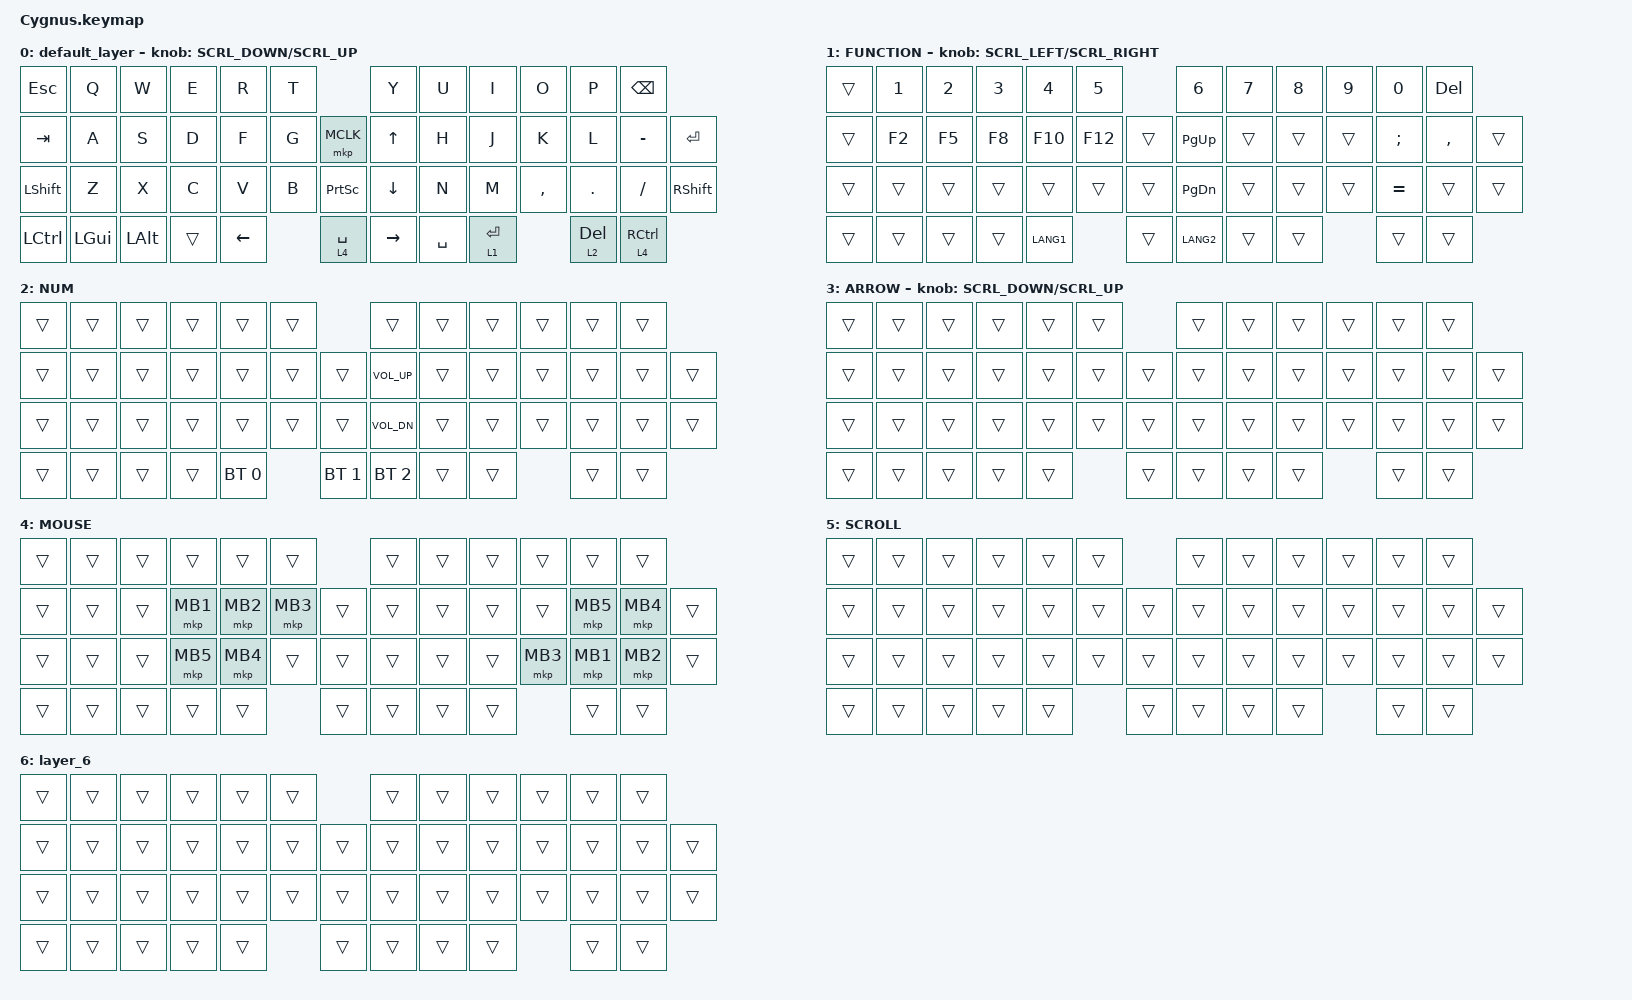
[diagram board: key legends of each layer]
#define ZMK_POINTING_DEFAULT_SCRL_VAL 120    // default: 10

#include <behaviors.dtsi>
#include <dt-bindings/zmk/bt.h>
#include <dt-bindings/zmk/keys.h>
#include <dt-bindings/zmk/pointing.h>

#define MOUSE 4
#define SCROLL 5
#define NUM 6

&mt {
    flavor = "balanced";
    quick-tap-ms = <0>;
};

/ {
    combos {
        compatible = "zmk,combos";
        double_quotation {
            bindings = <&kp DOUBLE_QUOTES>;
            key-positions = <20 21>;
        };
    };

    macros {
        to_layer_0: to_layer_0 {
            compatible = "zmk,behavior-macro-one-param";
            #binding-cells = <1>;
            bindings = <&to 0 &macro_param_1to1 &kp MACRO_PLACEHOLDER>;
            label = "TO_LAYER_0";
        };
        macro1: macro1  {
            compatible = "zmk,behavior-macro";
            #binding-cells = <0>;
            wait-ms = <40>;
            tap-ms = <40>;
            bindings =
                <&macro_tap &kp LANG2>,
                <&macro_tap &kp NUMBER_1 &kp NUMBER_2 &kp NUMBER_2 &kp NUMBER_1
                            &kp NUMBER_1 &kp NUMBER_2 &kp NUMBER_2 &kp NUMBER_1>;
            label = "MACRO1(122)";
        };

        macro2: macro2 {
            compatible = "zmk,behavior-macro";
            #binding-cells = <0>;
            wait-ms = <40>;
            tap-ms = <40>;
            bindings =
                <&macro_tap &kp LANG2>,
                <&macro_tap &kp I &kp E &kp G &kp A &kp L &kp L &kp S &kp T &kp A &kp R &kp S &kp I &kp T>,
                <&macro_tap &kp AT_SIGN>,
                <&macro_tap &kp G &kp M &kp A &kp I &kp L>,
                <&macro_tap &kp DOT>,
                <&macro_tap &kp C &kp O &kp M>;
            label = "MACRO2(ieg)";
        };

        macro3: macro3 {
            compatible = "zmk,behavior-macro";
            #binding-cells = <0>;
            wait-ms = <40>;
            tap-ms = <40>;
            bindings =
                <&macro_tap &kp LANG2>,
                <&macro_tap &kp T &kp A &kp N &kp I &kp M &kp O &kp T &kp O>,
                <&macro_tap &kp NUMBER_7 &kp NUMBER_5 &kp NUMBER_0 &kp NUMBER_3>,
                <&macro_tap &kp AT_SIGN>,
                <&macro_tap &kp I &kp H &kp I>,
                <&macro_tap &kp MINUS>,
                <&macro_tap &kp G>,
                <&macro_tap &kp DOT>,
                <&macro_tap &kp C &kp O &kp M>;
            label = "MACRO3(tan)";
        };

        macro4: macro4 {
            compatible = "zmk,behavior-macro";
            #binding-cells = <0>;
            wait-ms = <40>;
            tap-ms = <40>;
            bindings =
                <&macro_tap &kp LANG2>,
                <&macro_tap &kp P>,
                <&macro_tap &kp LS(V)>,
                <&macro_tap &kp NUMBER_4>,
                <&macro_tap &kp LS(D)>,
                <&macro_tap &kp LS(NUMBER_4)>,
                <&macro_tap &kp B>,
                <&macro_tap &kp LS(R)>,
                <&macro_tap &kp NUMBER_8>,
                <&macro_tap &kp LS(NUMBER_5)>,
                <&macro_tap &kp LS(A)>,
                <&macro_tap &kp I>,
                <&macro_tap &kp LS(C)>;
            label = "MACRO4(pV4)";
        }; 
    };

    behaviors {
        lt_to_layer_0: lt_to_layer_0 {
            compatible = "zmk,behavior-hold-tap";
            label = "LAYER_TAP_TO_0";
            bindings = <&mo>, <&to_layer_0>;
            #binding-cells = <2>;
            tapping-term-ms = <200>;
        };
        ROTATE: ROTATE {
            compatible = "zmk,behavior-sensor-rotate-var";
            label = "ROTATE";
            #sensor-binding-cells = <2>;
            bindings = <&msc>, <&msc>;
            tap-ms = <20>;
        };

    };

    keymap {
        compatible = "zmk,keymap";

        default_layer {
            bindings = <
&kp ESC    &kp Q    &kp W    &kp E    &kp R    &kp T                      &kp Y    &kp U    &kp I    &kp O    &kp P    &kp BSPC
&kp TAB    &kp A    &kp S    &kp D    &kp F    &kp G    &mkp MCLK    &kp UP_ARROW    &kp H    &kp J    &kp K    &kp L    &kp MINUS    &kp ENTER
&kp LSHFT  &kp Z    &kp X    &kp C    &kp V    &kp B    &kp PRINTSCREEN    &kp DOWN_ARROW    &kp N    &kp M    &kp COMMA    &kp DOT    &kp FSLH    &kp RSHFT
&kp LCTRL  &kp LGUI &kp LALT &trans   &kp LEFT_ARROW &lt 4 SPACE &kp RIGHT_ARROW    &kp SPACE &lt 1 ENTER    &lt 2 DELETE &lt 4 RCTRL
            >;
            sensor-bindings = <&ROTATE SCRL_DOWN SCRL_UP>;
        };

        FUNCTION {
            bindings = <
&trans &kp NUMBER_1 &kp NUMBER_2 &kp NUMBER_3 &kp NUMBER_4 &kp NUMBER_5    &kp NUMBER_6 &kp NUMBER_7 &kp NUMBER_8 &kp NUMBER_9 &kp NUMBER_0 &kp DELETE
&trans &kp F2 &kp F5 &kp F8 &kp F10 &kp F12 &trans    &kp PAGE_UP &trans &trans &trans &kp SEMICOLON &kp COMMA &trans
&trans &trans &trans &trans &trans &trans &trans    &kp PAGE_DOWN &trans &trans &trans &kp EQUAL &trans &trans
&trans &trans &trans &trans &kp LANG1 &trans &kp LANG2    &trans &trans &trans &trans
            >;

            sensor-bindings = <&ROTATE SCRL_LEFT SCRL_RIGHT>;
        };

        NUM {
            bindings = <
&trans &trans &trans &trans &trans &trans    &trans &trans &trans &trans &trans &trans
&trans &trans &trans &trans &trans &trans &trans    &kp C_VOL_UP &trans &trans &trans &trans &trans &trans
&trans &trans &trans &trans &trans &trans &trans    &kp C_VOL_DN &trans &trans &trans &trans &trans &trans
&trans &trans &trans &trans &bt BT_SEL 0 &bt BT_SEL 1 &bt BT_SEL 2    &trans &trans &trans &trans
            >;
        };

        ARROW {
            bindings = <
&trans &trans &trans &trans &trans &trans    &trans &trans &trans &trans &trans &trans
&trans &trans &trans &trans &trans &trans &trans    &trans &trans &trans &trans &trans &trans &trans
&trans &trans &trans &trans &trans &trans &trans    &trans &trans &trans &trans &trans &trans &trans
&trans &trans &trans &trans &trans &trans &trans    &trans &trans &trans &trans
            >;
            sensor-bindings = <&ROTATE SCRL_DOWN SCRL_UP>;
        };

        MOUSE {
            bindings = <
&trans &trans &trans &trans &trans &trans    &trans &trans &trans &trans &trans &trans
&trans &trans &trans &mkp MB1 &mkp MB2 &mkp MB3 &trans    &trans &trans &trans &trans &mkp MB5 &mkp MB4 &trans
&trans &trans &trans &mkp MB5 &mkp MB4 &trans &trans    &trans &trans &trans &mkp MB3 &mkp MB1 &mkp MB2 &trans
&trans &trans &trans &trans &trans &trans &trans    &trans &trans &trans &trans
            >;
        };

        SCROLL {
            bindings = <
&trans &trans &trans &trans &trans &trans    &trans &trans &trans &trans &trans &trans
&trans &trans &trans &trans &trans &trans &trans    &trans &trans &trans &trans &trans &trans &trans
&trans &trans &trans &trans &trans &trans &trans    &trans &trans &trans &trans &trans &trans &trans
&trans &trans &trans &trans &trans &trans &trans    &trans &trans &trans &trans
            >;
        };

        layer_6 {
            bindings = <
&trans &trans &trans &trans &trans &trans    &trans &trans &trans &trans &trans &trans
&trans &trans &trans &trans &trans &trans &trans    &trans &trans &trans &trans &trans &trans &trans
&trans &trans &trans &trans &trans &trans &trans    &trans &trans &trans &trans &trans &trans &trans
&trans &trans &trans &trans &trans &trans &trans    &trans &trans &trans &trans
            >;
        };
    };
};
